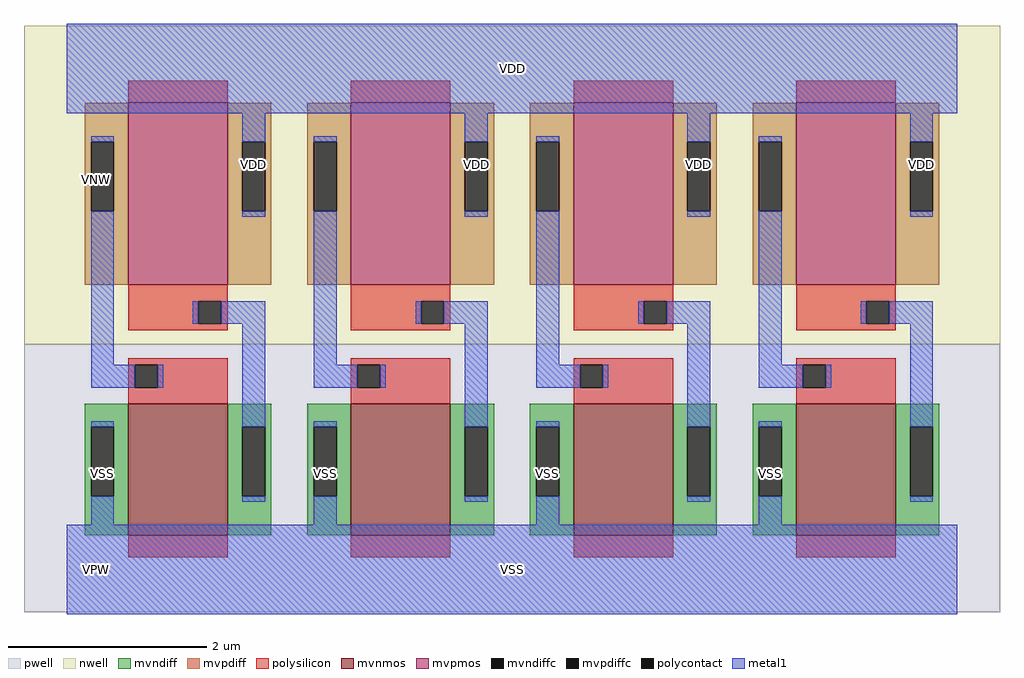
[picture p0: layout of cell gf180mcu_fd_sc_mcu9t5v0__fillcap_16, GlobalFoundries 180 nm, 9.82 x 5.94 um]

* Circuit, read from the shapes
.subckt gf180mcu_fd_sc_mcu9t5v0__fillcap_16 VDD VNW VPW VSS
XM1 n1 n2 VSS VPW nfet_06v0 w=1.32u l=1u
XM2 n3 n4 VSS VPW nfet_06v0 w=1.32u l=1u
XM3 n5 n6 VSS VPW nfet_06v0 w=1.32u l=1u
XM4 n7 n8 VSS VPW nfet_06v0 w=1.32u l=1u
XM5 VDD n1 n2 VNW pfet_06v0 w=1.83u l=1u
XM6 VDD n3 n4 VNW pfet_06v0 w=1.83u l=1u
XM7 VDD n5 n6 VNW pfet_06v0 w=1.83u l=1u
XM8 VDD n7 n8 VNW pfet_06v0 w=1.83u l=1u
.ends

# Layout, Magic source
magic
tech gf180mcuD
magscale 1 10
<< nwell >>
rect -86 453 1878 1094
<< pwell >>
rect -86 -86 1878 453
<< mvnmos >>
rect 124 69 324 333
rect 572 69 772 333
rect 1020 69 1220 333
rect 1468 69 1668 333
<< mvpmos >>
rect 124 573 324 939
rect 572 573 772 939
rect 1020 573 1220 939
rect 1468 573 1668 939
<< mvndiff >>
rect 36 287 124 333
rect 36 147 49 287
rect 95 147 124 287
rect 36 69 124 147
rect 324 287 412 333
rect 324 147 353 287
rect 399 147 412 287
rect 324 69 412 147
rect 484 287 572 333
rect 484 147 497 287
rect 543 147 572 287
rect 484 69 572 147
rect 772 287 860 333
rect 772 147 801 287
rect 847 147 860 287
rect 772 69 860 147
rect 932 287 1020 333
rect 932 147 945 287
rect 991 147 1020 287
rect 932 69 1020 147
rect 1220 287 1308 333
rect 1220 147 1249 287
rect 1295 147 1308 287
rect 1220 69 1308 147
rect 1380 287 1468 333
rect 1380 147 1393 287
rect 1439 147 1468 287
rect 1380 69 1468 147
rect 1668 287 1756 333
rect 1668 147 1697 287
rect 1743 147 1756 287
rect 1668 69 1756 147
<< mvpdiff >>
rect 36 861 124 939
rect 36 721 49 861
rect 95 721 124 861
rect 36 573 124 721
rect 324 861 412 939
rect 324 721 353 861
rect 399 721 412 861
rect 324 573 412 721
rect 484 861 572 939
rect 484 721 497 861
rect 543 721 572 861
rect 484 573 572 721
rect 772 861 860 939
rect 772 721 801 861
rect 847 721 860 861
rect 772 573 860 721
rect 932 861 1020 939
rect 932 721 945 861
rect 991 721 1020 861
rect 932 573 1020 721
rect 1220 861 1308 939
rect 1220 721 1249 861
rect 1295 721 1308 861
rect 1220 573 1308 721
rect 1380 861 1468 939
rect 1380 721 1393 861
rect 1439 721 1468 861
rect 1380 573 1468 721
rect 1668 861 1756 939
rect 1668 721 1697 861
rect 1743 721 1756 861
rect 1668 573 1756 721
<< mvndiffc >>
rect 49 147 95 287
rect 353 147 399 287
rect 497 147 543 287
rect 801 147 847 287
rect 945 147 991 287
rect 1249 147 1295 287
rect 1393 147 1439 287
rect 1697 147 1743 287
<< mvpdiffc >>
rect 49 721 95 861
rect 353 721 399 861
rect 497 721 543 861
rect 801 721 847 861
rect 945 721 991 861
rect 1249 721 1295 861
rect 1393 721 1439 861
rect 1697 721 1743 861
<< polysilicon >>
rect 124 939 324 983
rect 572 939 772 983
rect 1020 939 1220 983
rect 1468 939 1668 983
rect 124 540 324 573
rect 124 494 265 540
rect 311 494 324 540
rect 124 481 324 494
rect 572 540 772 573
rect 572 494 713 540
rect 759 494 772 540
rect 572 481 772 494
rect 1020 540 1220 573
rect 1020 494 1161 540
rect 1207 494 1220 540
rect 1020 481 1220 494
rect 1468 540 1668 573
rect 1468 494 1609 540
rect 1655 494 1668 540
rect 1468 481 1668 494
rect 124 412 324 425
rect 124 366 137 412
rect 183 366 324 412
rect 124 333 324 366
rect 572 412 772 425
rect 572 366 585 412
rect 631 366 772 412
rect 572 333 772 366
rect 1020 412 1220 425
rect 1020 366 1033 412
rect 1079 366 1220 412
rect 1020 333 1220 366
rect 1468 412 1668 425
rect 1468 366 1481 412
rect 1527 366 1668 412
rect 1468 333 1668 366
rect 124 25 324 69
rect 572 25 772 69
rect 1020 25 1220 69
rect 1468 25 1668 69
<< polycontact >>
rect 265 494 311 540
rect 713 494 759 540
rect 1161 494 1207 540
rect 1609 494 1655 540
rect 137 366 183 412
rect 585 366 631 412
rect 1033 366 1079 412
rect 1481 366 1527 412
<< metal1 >>
rect 0 918 1792 1098
rect 49 861 95 872
rect 49 412 95 721
rect 353 861 399 918
rect 353 710 399 721
rect 497 861 543 872
rect 254 494 265 540
rect 311 494 399 540
rect 49 366 137 412
rect 183 366 194 412
rect 49 287 95 298
rect 49 90 95 147
rect 353 287 399 494
rect 497 412 543 721
rect 801 861 847 918
rect 801 710 847 721
rect 945 861 991 872
rect 702 494 713 540
rect 759 494 847 540
rect 497 366 585 412
rect 631 366 642 412
rect 353 136 399 147
rect 497 287 543 298
rect 497 90 543 147
rect 801 287 847 494
rect 945 412 991 721
rect 1249 861 1295 918
rect 1249 710 1295 721
rect 1393 861 1439 872
rect 1150 494 1161 540
rect 1207 494 1295 540
rect 945 366 1033 412
rect 1079 366 1090 412
rect 801 136 847 147
rect 945 287 991 298
rect 945 90 991 147
rect 1249 287 1295 494
rect 1393 412 1439 721
rect 1697 861 1743 918
rect 1697 710 1743 721
rect 1598 494 1609 540
rect 1655 494 1743 540
rect 1393 366 1481 412
rect 1527 366 1538 412
rect 1249 136 1295 147
rect 1393 287 1439 298
rect 1393 90 1439 147
rect 1697 287 1743 494
rect 1697 136 1743 147
rect 0 -90 1792 90
<< labels >>
flabel metal1 s 0 918 1792 1098 0 FreeSans 200 0 0 0 VDD
port 1 nsew power bidirectional abutment
flabel metal1 s 1393 90 1439 298 0 FreeSans 200 0 0 0 VSS
port 4 nsew ground bidirectional abutment
flabel nwell s 10 734 110 834 0 FreeSans 400 0 0 0 VNW
port 2 nsew power bidirectional
flabel pwell s 10 -50 110 50 0 FreeSans 400 0 0 0 VPW
port 3 nsew ground bidirectional
rlabel metal1 s 1697 710 1743 918 1 VDD
port 1 nsew power bidirectional abutment
rlabel metal1 s 1249 710 1295 918 1 VDD
port 1 nsew power bidirectional abutment
rlabel metal1 s 801 710 847 918 1 VDD
port 1 nsew power bidirectional abutment
rlabel metal1 s 353 710 399 918 1 VDD
port 1 nsew power bidirectional abutment
rlabel metal1 s 945 90 991 298 1 VSS
port 4 nsew ground bidirectional abutment
rlabel metal1 s 497 90 543 298 1 VSS
port 4 nsew ground bidirectional abutment
rlabel metal1 s 49 90 95 298 1 VSS
port 4 nsew ground bidirectional abutment
rlabel metal1 s 0 -90 1792 90 1 VSS
port 4 nsew ground bidirectional abutment
<< properties >>
string FIXED_BBOX 0 0 1792 1008
string GDS_END 785160
string GDS_FILE $PDKPATH/libs.ref/gf180mcu_fd_sc_mcu9t5v0/gds/gf180mcu_fd_sc_mcu9t5v0.gds
string GDS_START 779518
string LEFclass core SPACER
string LEFsite GF018hv5v_green_sc9
string LEFsymmetry X Y
<< end >>
